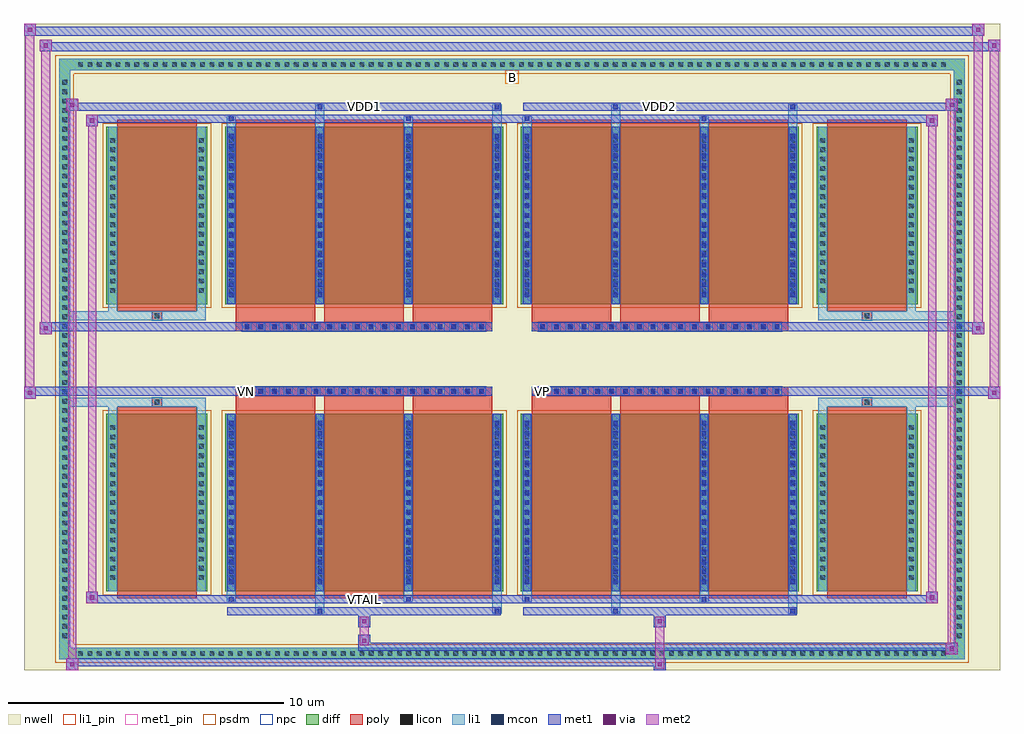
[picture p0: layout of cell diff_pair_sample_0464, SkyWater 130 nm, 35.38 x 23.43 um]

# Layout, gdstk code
import gdstk
lib = gdstk.Library(unit=1e-6, precision=5e-09)
def R(c, l, rs):  # rectangles x0, y0, x1, y1
    for r in rs: c.add(gdstk.rectangle(r[:2], r[2:], *l))
def A(c, l, x, y, w, h, nx, ny, dx, dy):  # array of equal rectangles
    R(c, l, [(x+i*dx, y+j*dy, x+i*dx+w, y+j*dy+h) for i in range(nx) for j in range(ny)])
def P(c, l, *ps):  # polygons
    for p in ps: c.add(gdstk.Polygon(p, *l))
nwell = (64, 20)
diff = (65, 20)
poly = (66, 20)
licon = (66, 44)
li1_pin = (67, 16)
li1 = (67, 20)
mcon = (67, 44)
met1_pin = (68, 16)
met1 = (68, 20)
via = (68, 44)
met2 = (69, 20)
psdm = (94, 20)
npc = (95, 20)

diff_pair_sample_0464 = lib.new_cell('diff_pair_sample_0464')
R(diff_pair_sample_0464, nwell, [(-17.69,-11.28,17.69,12.15), (-15.01,-9.47,-0.01,-0.805), (0.01,-9.47,15.01,-0.805), (-15.01,0.805,-0.01,9.47), (0.01,0.805,15.01,9.47)])
A(diff_pair_sample_0464, diff, -15.845, -10.88, 0.41, 0.41, 93, 2, 0.34, 21.35)
A(diff_pair_sample_0464, diff, -16.42, -10.235, 0.41, 0.41, 1, 60, 0, 0.34)
A(diff_pair_sample_0464, diff, 16.01, -10.235, 0.41, 0.41, 1, 60, 0, 0.34)
R(diff_pair_sample_0464, diff, [(-15.845,-10.88,15.845,-10.47), (-16.42,-10.235,-16.01,10.235), (16.01,-10.235,16.42,10.235), (-14.7,-8.425,-11.04,-1.985), (-10.4,-8.425,-0.32,-1.985), (0.32,-8.425,10.4,-1.985), (11.04,-8.425,14.7,-1.985), (-14.7,1.985,-11.04,8.425), (-10.4,1.985,-0.32,8.425), (0.32,1.985,10.4,8.425), (11.04,1.985,14.7,8.425), (-15.845,10.47,15.845,10.88)])
P(diff_pair_sample_0464, diff, [(16.42,10.88),(-16.42,10.88),(-16.42,-10.47),(-16.01,-10.47),(-16.01,10.47),(16.01,10.47),(16.01,-10.47),(-16.01,-10.47),(-16.42,-10.47),(-16.42,-10.88),(16.42,-10.88)])
A(diff_pair_sample_0464, poly, -10.01, -8.675, 2.88, 6.94, 3, 2, 3.21, 10.41)
A(diff_pair_sample_0464, poly, 0.71, -8.675, 2.88, 6.94, 3, 2, 3.21, 10.41)
A(diff_pair_sample_0464, poly, -10.01, -1.735, 2.88, 0.4, 3, 2, 3.21, 3.07)
A(diff_pair_sample_0464, poly, 0.71, -1.735, 2.88, 0.4, 3, 2, 3.21, 3.07)
A(diff_pair_sample_0464, poly, -9.775, -1.335, 0.33, 0.33, 18, 2, 0.5, 2.34)
A(diff_pair_sample_0464, poly, 0.945, -1.335, 0.33, 0.33, 18, 2, 0.5, 2.34)
R(diff_pair_sample_0464, poly, [(-14.31,-8.675,-11.43,-1.735), (11.43,-8.675,14.31,-1.735), (-13.035,-1.735,-12.705,-1.405), (-13.035,-1.735,-12.705,-1.405), (12.705,-1.735,13.035,-1.405), (12.705,-1.735,13.035,-1.405), (-10.01,-1.335,-0.71,-1.005), (0.71,-1.335,10.01,-1.005), (-10.01,1.005,-0.71,1.335), (0.71,1.005,10.01,1.335), (-13.035,1.405,-12.705,1.735), (-13.035,1.405,-12.705,1.735), (12.705,1.405,13.035,1.735), (12.705,1.405,13.035,1.735), (-14.31,1.735,-11.43,8.675), (11.43,1.735,14.31,8.675)])
A(diff_pair_sample_0464, licon, -15.725, -10.76, 0.17, 0.17, 93, 2, 0.34, 21.35)
A(diff_pair_sample_0464, licon, -16.3, -10.115, 0.17, 0.17, 1, 60, 0, 0.34)
A(diff_pair_sample_0464, licon, 16.13, -10.115, 0.17, 0.17, 1, 60, 0, 0.34)
A(diff_pair_sample_0464, licon, -14.56, -8.01, 0.17, 0.17, 1, 17, 0, 0.34)
A(diff_pair_sample_0464, licon, -11.35, -8.01, 0.17, 0.17, 1, 17, 0, 0.34)
A(diff_pair_sample_0464, licon, -10.26, -8.01, 0.17, 0.17, 4, 17, 3.21, 0.34)
A(diff_pair_sample_0464, licon, 0.46, -8.01, 0.17, 0.17, 4, 17, 3.21, 0.34)
A(diff_pair_sample_0464, licon, 11.18, -8.01, 0.17, 0.17, 1, 17, 0, 0.34)
A(diff_pair_sample_0464, licon, 14.39, -8.01, 0.17, 0.17, 1, 17, 0, 0.34)
A(diff_pair_sample_0464, licon, -9.695, -1.255, 0.17, 0.17, 18, 2, 0.5, 2.34)
A(diff_pair_sample_0464, licon, 1.025, -1.255, 0.17, 0.17, 18, 2, 0.5, 2.34)
A(diff_pair_sample_0464, licon, -14.56, 2.4, 0.17, 0.17, 1, 17, 0, 0.34)
A(diff_pair_sample_0464, licon, -11.35, 2.4, 0.17, 0.17, 1, 17, 0, 0.34)
A(diff_pair_sample_0464, licon, -10.26, 2.4, 0.17, 0.17, 4, 17, 3.21, 0.34)
A(diff_pair_sample_0464, licon, 0.46, 2.4, 0.17, 0.17, 4, 17, 3.21, 0.34)
A(diff_pair_sample_0464, licon, 11.18, 2.4, 0.17, 0.17, 1, 17, 0, 0.34)
A(diff_pair_sample_0464, licon, 14.39, 2.4, 0.17, 0.17, 1, 17, 0, 0.34)
R(diff_pair_sample_0464, licon, [(-12.955,-1.655,-12.785,-1.485), (12.785,-1.655,12.955,-1.485), (-12.955,1.485,-12.785,1.655), (12.785,1.485,12.955,1.655)])
R(diff_pair_sample_0464, li1_pin, [(-0.25,9.97,0.25,10.47)])
A(diff_pair_sample_0464, li1, -15.805, -10.84, 0.33, 0.33, 93, 2, 0.34, 21.35)
A(diff_pair_sample_0464, li1, -16.38, -10.195, 0.33, 0.33, 1, 60, 0, 0.34)
A(diff_pair_sample_0464, li1, 16.05, -10.195, 0.33, 0.33, 1, 60, 0, 0.34)
A(diff_pair_sample_0464, li1, -10.34, -8.425, 0.33, 6.44, 4, 2, 3.21, 10.41)
A(diff_pair_sample_0464, li1, 0.38, -8.425, 0.33, 6.44, 4, 2, 3.21, 10.41)
A(diff_pair_sample_0464, li1, -10.26, -8.17, 0.17, 0.17, 4, 17, 3.21, 0.36)
A(diff_pair_sample_0464, li1, -10.26, -8.17, 0.17, 5.93, 4, 2, 3.21, 10.41)
A(diff_pair_sample_0464, li1, 0.46, -8.17, 0.17, 0.17, 4, 17, 3.21, 0.36)
A(diff_pair_sample_0464, li1, 0.46, -8.17, 0.17, 5.93, 4, 2, 3.21, 10.41)
A(diff_pair_sample_0464, li1, -14.64, -8.09, 0.33, 0.33, 1, 17, 0, 0.34)
A(diff_pair_sample_0464, li1, -11.43, -8.09, 0.33, 0.33, 1, 17, 0, 0.34)
A(diff_pair_sample_0464, li1, -10.34, -8.09, 0.33, 0.33, 4, 17, 3.21, 0.34)
A(diff_pair_sample_0464, li1, 0.38, -8.09, 0.33, 0.33, 4, 17, 3.21, 0.34)
A(diff_pair_sample_0464, li1, 11.1, -8.09, 0.33, 0.33, 1, 17, 0, 0.34)
A(diff_pair_sample_0464, li1, 14.31, -8.09, 0.33, 0.33, 1, 17, 0, 0.34)
A(diff_pair_sample_0464, li1, -9.775, -1.335, 0.33, 0.33, 18, 2, 0.5, 2.34)
A(diff_pair_sample_0464, li1, 0.945, -1.335, 0.33, 0.33, 18, 2, 0.5, 2.34)
A(diff_pair_sample_0464, li1, -10.26, 2.24, 0.17, 0.17, 4, 17, 3.21, 0.36)
A(diff_pair_sample_0464, li1, 0.46, 2.24, 0.17, 0.17, 4, 17, 3.21, 0.36)
A(diff_pair_sample_0464, li1, -14.64, 2.32, 0.33, 0.33, 1, 17, 0, 0.34)
A(diff_pair_sample_0464, li1, -11.43, 2.32, 0.33, 0.33, 1, 17, 0, 0.34)
A(diff_pair_sample_0464, li1, -10.34, 2.32, 0.33, 0.33, 4, 17, 3.21, 0.34)
A(diff_pair_sample_0464, li1, 0.38, 2.32, 0.33, 0.33, 4, 17, 3.21, 0.34)
A(diff_pair_sample_0464, li1, 11.1, 2.32, 0.33, 0.33, 1, 17, 0, 0.34)
A(diff_pair_sample_0464, li1, 14.31, 2.32, 0.33, 0.33, 1, 17, 0, 0.34)
R(diff_pair_sample_0464, li1, [(-16.42,-10.88,-16.01,-10.47), (-16.42,-10.88,-16.01,-10.47), (-16.01,-10.88,16.01,-10.47), (16.01,-10.88,16.42,-10.47), (16.01,-10.88,16.42,-10.47), (-16.42,-10.47,-16.01,10.47), (16.01,-10.47,16.42,10.47), (-7.13,-9.23,-6.8,-8.425), (-7.05,-9.23,-6.88,-9.06), (-0.71,-9.23,-0.38,-8.425), (-0.63,-9.23,-0.46,-9.06), (3.59,-9.23,3.92,-8.425), (3.67,-9.23,3.84,-9.06), (10.01,-9.23,10.34,-8.425), (10.09,-9.23,10.26,-9.06), (-10.34,-8.8,-10.01,-8.425), (-10.26,-8.8,-10.09,-8.63), (-3.92,-8.8,-3.59,-8.425), (-3.84,-8.8,-3.67,-8.63), (0.38,-8.8,0.71,-8.425), (0.46,-8.8,0.63,-8.63), (6.8,-8.8,7.13,-8.425), (6.88,-8.8,7.05,-8.63), (-14.64,-8.425,-14.31,-1.985), (-11.43,-8.425,-11.1,-1.985), (11.1,-8.425,11.43,-1.985), (14.31,-8.425,14.64,-1.985), (-14.64,-1.985,-14.31,-1.405), (-11.43,-1.985,-11.1,-1.405), (11.1,-1.985,11.43,-1.405), (14.31,-1.985,14.64,-1.405), (-16.42,-1.735,-13.035,-1.405), (-14.64,-1.735,-13.035,-1.405), (-13.035,-1.735,-12.705,-1.405), (-12.705,-1.735,-11.1,-1.405), (11.1,-1.735,12.705,-1.405), (12.705,-1.735,13.035,-1.405), (12.705,-1.735,16.42,-1.405), (13.035,-1.735,14.64,-1.405), (-16.42,1.405,-13.035,1.735), (-14.64,1.405,-13.035,1.735), (-14.64,1.405,-14.31,1.985), (-13.035,1.405,-12.705,1.735), (-12.705,1.405,-11.1,1.735), (-11.43,1.405,-11.1,1.985), (11.1,1.405,12.705,1.735), (11.1,1.405,11.43,1.985), (12.705,1.405,13.035,1.735), (12.705,1.405,16.42,1.735), (13.035,1.405,14.64,1.735), (14.31,1.405,14.64,1.985), (-14.64,1.985,-14.31,8.425), (-11.43,1.985,-11.1,8.425), (11.1,1.985,11.43,8.425), (14.31,1.985,14.64,8.425), (-10.34,8.425,-10.01,8.8), (-7.13,8.425,-6.8,9.23), (-3.92,8.425,-3.59,8.8), (-0.71,8.425,-0.38,9.23), (0.38,8.425,0.71,8.8), (3.59,8.425,3.92,9.23), (6.8,8.425,7.13,8.8), (10.01,8.425,10.34,9.23), (-10.26,8.63,-10.09,8.8), (-3.84,8.63,-3.67,8.8), (0.46,8.63,0.63,8.8), (6.88,8.63,7.05,8.8), (-7.05,9.06,-6.88,9.23), (-0.63,9.06,-0.46,9.23), (3.67,9.06,3.84,9.23), (10.09,9.06,10.26,9.23), (-16.42,10.47,-16.01,10.88), (-16.42,10.47,-16.01,10.88), (-16.01,10.47,16.01,10.88), (16.01,10.47,16.42,10.88), (16.01,10.47,16.42,10.88)])
A(diff_pair_sample_0464, mcon, -10.26, -8.17, 0.17, 0.17, 4, 17, 3.21, 0.36)
A(diff_pair_sample_0464, mcon, 0.46, -8.17, 0.17, 0.17, 4, 17, 3.21, 0.36)
A(diff_pair_sample_0464, mcon, -9.695, -1.255, 0.17, 0.17, 18, 2, 0.5, 2.34)
A(diff_pair_sample_0464, mcon, 1.025, -1.255, 0.17, 0.17, 18, 2, 0.5, 2.34)
A(diff_pair_sample_0464, mcon, -10.26, 2.24, 0.17, 0.17, 4, 17, 3.21, 0.36)
A(diff_pair_sample_0464, mcon, 0.46, 2.24, 0.17, 0.17, 4, 17, 3.21, 0.36)
R(diff_pair_sample_0464, mcon, [(-7.05,-9.23,-6.88,-9.06), (-0.63,-9.23,-0.46,-9.06), (3.67,-9.23,3.84,-9.06), (10.09,-9.23,10.26,-9.06), (-10.26,-8.8,-10.09,-8.63), (-3.84,-8.8,-3.67,-8.63), (0.46,-8.8,0.63,-8.63), (6.88,-8.8,7.05,-8.63), (-10.26,8.63,-10.09,8.8), (-3.84,8.63,-3.67,8.8), (0.46,8.63,0.63,8.8), (6.88,8.63,7.05,8.8), (-7.05,9.06,-6.88,9.23), (-0.63,9.06,-0.46,9.23), (3.67,9.06,3.84,9.23), (10.09,9.06,10.26,9.23)])
R(diff_pair_sample_0464, met1_pin, [(-5.495,-8.84,-5.225,-8.57), (-9.745,-1.295,-9.475,-1.025), (0.975,-1.295,1.245,-1.025), (-5.495,9.02,-5.225,9.29), (5.225,9.02,5.495,9.29)])
A(diff_pair_sample_0464, met1, -10.32, -8.425, 0.29, 6.44, 4, 2, 3.21, 10.41)
A(diff_pair_sample_0464, met1, 0.4, -8.425, 0.29, 6.44, 4, 2, 3.21, 10.41)
A(diff_pair_sample_0464, met1, -10.32, -8.23, 0.29, 0.29, 4, 17, 3.21, 0.36)
A(diff_pair_sample_0464, met1, 0.4, -8.23, 0.29, 0.29, 4, 17, 3.21, 0.36)
A(diff_pair_sample_0464, met1, -9.755, -1.315, 0.29, 0.29, 18, 2, 0.5, 2.34)
A(diff_pair_sample_0464, met1, 0.965, -1.315, 0.29, 0.29, 18, 2, 0.5, 2.34)
A(diff_pair_sample_0464, met1, -10.32, 2.18, 0.29, 0.29, 4, 17, 3.21, 0.36)
A(diff_pair_sample_0464, met1, 0.4, 2.18, 0.29, 0.29, 4, 17, 3.21, 0.36)
R(diff_pair_sample_0464, met1, [(-16.15,-11.28,-15.72,-10.85), (5.145,-11.28,5.575,-10.85), (-16.15,-11.14,5.575,-10.85), (15.72,-10.71,16.15,-10.28), (-5.575,-10.57,16.15,-10.28), (-5.575,-10.43,-5.145,-10), (-5.575,-9.72,-5.145,-9.29), (5.145,-9.72,5.575,-9.29), (-10.32,-9.29,-0.4,-9), (-7.11,-9.29,-6.82,-9), (-0.69,-9.29,-0.4,-9), (0.4,-9.29,10.32,-9), (3.61,-9.29,3.9,-9), (10.03,-9.29,10.32,-9), (-15.44,-8.86,-15.01,-8.43), (-15.44,-8.86,-10.32,-8.57), (-10.32,-8.86,-10.03,-8.57), (-10.32,-8.86,-0.4,-8.57), (-3.9,-8.86,-3.61,-8.57), (-0.4,-8.86,0.4,-8.57), (0.4,-8.86,0.69,-8.57), (0.4,-8.86,10.32,-8.57), (6.82,-8.86,7.11,-8.57), (10.32,-8.86,15.44,-8.57), (15.01,-8.86,15.44,-8.43), (-17.69,-1.435,-17.26,-1.005), (17.26,-1.435,17.69,-1.005), (-17.69,-1.335,-0.71,-1.005), (-10.01,-1.335,-0.71,-1.005), (0.71,-1.335,10.01,-1.005), (0.71,-1.335,17.69,-1.005), (-17.12,0.905,-16.69,1.335), (16.69,0.905,17.12,1.335), (-17.12,1.005,-10.01,1.335), (-10.01,1.005,-0.71,1.335), (0.71,1.005,10.01,1.335), (10.01,1.005,17.12,1.335), (-15.44,8.43,-15.01,8.86), (15.01,8.43,15.44,8.86), (-15.44,8.57,-10.32,8.86), (-10.32,8.57,-10.03,8.86), (-10.32,8.57,-0.4,8.86), (-3.9,8.57,-3.61,8.86), (-0.4,8.57,0.4,8.86), (0.4,8.57,0.69,8.86), (0.4,8.57,10.32,8.86), (6.82,8.57,7.11,8.86), (10.32,8.57,15.44,8.86), (-16.15,9,-15.72,9.43), (-16.15,9,-10.32,9.29), (-10.32,9,-0.4,9.29), (-7.11,9,-6.82,9.29), (-0.69,9,-0.4,9.29), (0.4,9,10.32,9.29), (3.61,9,3.9,9.29), (10.03,9,10.32,9.29), (10.32,9,16.15,9.29), (15.72,9,16.15,9.43), (-17.12,11.15,-16.69,11.58), (-17.12,11.15,-15.01,11.48), (-15.01,11.15,15.01,11.48), (15.01,11.15,17.69,11.48), (17.26,11.15,17.69,11.58), (-17.69,11.72,-17.26,12.15), (-17.69,11.72,-15.01,12.05), (-15.01,11.72,15.01,12.05), (15.01,11.72,17.12,12.05), (16.69,11.72,17.12,12.15)])
R(diff_pair_sample_0464, via, [(-16.01,-11.14,-15.86,-10.99), (5.285,-11.14,5.435,-10.99), (15.86,-10.57,16.01,-10.42), (-5.435,-10.29,-5.285,-10.14), (-5.435,-9.58,-5.285,-9.43), (5.285,-9.58,5.435,-9.43), (-15.3,-8.72,-15.15,-8.57), (15.15,-8.72,15.3,-8.57), (-17.55,-1.295,-17.4,-1.145), (17.4,-1.295,17.55,-1.145), (-16.98,1.045,-16.83,1.195), (16.83,1.045,16.98,1.195), (-15.3,8.57,-15.15,8.72), (15.15,8.57,15.3,8.72), (-16.01,9.14,-15.86,9.29), (15.86,9.14,16.01,9.29), (-16.98,11.29,-16.83,11.44), (17.4,11.29,17.55,11.44), (-17.55,11.86,-17.4,12.01), (16.83,11.86,16.98,12.01)])
R(diff_pair_sample_0464, met2, [(-16.15,-11.28,-15.72,-10.85), (-16.08,-11.28,-15.79,9.43), (-15.79,-11.28,-15.72,-10.85), (-16.1,-11.23,-15.77,-10.9), (5.195,-11.23,5.525,-10.9), (5.195,-10.9,5.525,-9.67), (15.72,-10.71,16.15,-10.28), (15.79,-10.71,16.08,9.43), (16.08,-10.71,16.15,-10.28), (15.77,-10.66,16.1,-10.33), (-5.525,-10.38,-5.195,-10.05), (-5.525,-10.05,-5.195,-9.67), (-5.525,-9.67,-5.195,-9.34), (5.195,-9.67,5.525,-9.34), (-15.44,-8.86,-15.01,-8.43), (-15.37,-8.86,-15.08,8.86), (-15.08,-8.86,-15.01,-8.43), (15.01,-8.86,15.44,-8.43), (15.08,-8.86,15.37,8.86), (15.37,-8.86,15.44,-8.43), (-15.39,-8.81,-15.06,-8.48), (15.06,-8.81,15.39,-8.48), (-17.69,-1.435,-17.26,-1.005), (-17.64,-1.435,-17.31,12.15), (-17.31,-1.435,-17.26,-1.005), (17.26,-1.435,17.69,-1.005), (17.31,-1.435,17.64,11.58), (17.64,-1.435,17.69,-1.005), (-17.64,-1.385,-17.31,-1.055), (17.31,-1.385,17.64,-1.055), (-17.12,0.905,-16.69,1.335), (-17.07,0.905,-16.74,11.58), (-16.74,0.905,-16.69,1.335), (16.69,0.905,17.12,1.335), (16.74,0.905,17.07,12.15), (17.07,0.905,17.12,1.335), (-17.07,0.955,-16.74,1.285), (16.74,0.955,17.07,1.285), (-15.44,8.43,-15.01,8.86), (-15.08,8.43,-15.01,8.86), (15.01,8.43,15.44,8.86), (15.37,8.43,15.44,8.86), (-15.39,8.48,-15.06,8.81), (15.06,8.48,15.39,8.81), (-16.15,9,-15.72,9.43), (-15.79,9,-15.72,9.43), (15.72,9,16.15,9.43), (16.08,9,16.15,9.43), (-16.1,9.05,-15.77,9.38), (15.77,9.05,16.1,9.38), (-17.12,11.15,-16.69,11.58), (-16.74,11.15,-16.69,11.58), (17.26,11.15,17.69,11.58), (17.64,11.15,17.69,11.58), (-17.07,11.2,-16.74,11.53), (17.31,11.2,17.64,11.53), (-17.69,11.72,-17.26,12.15), (-17.31,11.72,-17.26,12.15), (16.69,11.72,17.12,12.15), (17.07,11.72,17.12,12.15), (-17.64,11.77,-17.31,12.1), (16.74,11.77,17.07,12.1)])
R(diff_pair_sample_0464, psdm, [(-14.83,-8.555,-10.91,-1.855), (-10.53,-8.555,-0.19,-1.855), (0.19,-8.555,10.53,-1.855), (10.91,-8.555,14.83,-1.855), (-14.83,1.855,-10.91,8.555), (-10.53,1.855,-0.19,8.555), (0.19,1.855,10.53,8.555), (10.91,1.855,14.83,8.555)])
P(diff_pair_sample_0464, psdm, [(16.55,11.01),(-16.55,11.01),(-16.55,-10.34),(-15.88,-10.34),(-15.88,10.34),(15.88,10.34),(15.88,-10.34),(-15.88,-10.34),(-16.55,-10.34),(-16.55,-11.01),(16.55,-11.01)])
A(diff_pair_sample_0464, npc, -9.795, -1.355, 0.37, 0.37, 18, 2, 0.5, 2.34)
A(diff_pair_sample_0464, npc, 0.925, -1.355, 0.37, 0.37, 18, 2, 0.5, 2.34)
R(diff_pair_sample_0464, npc, [(-13.055,-1.755,-12.685,-1.385), (12.685,-1.755,13.055,-1.385), (-9.795,-1.355,-8.925,-0.985), (-9.795,-1.355,-8.925,-0.985), (-9.295,-1.355,-8.425,-0.985), (-9.295,-1.355,-8.425,-0.985), (-8.795,-1.355,-7.925,-0.985), (-8.795,-1.355,-7.925,-0.985), (-8.295,-1.355,-7.425,-0.985), (-8.295,-1.355,-7.425,-0.985), (-7.795,-1.355,-6.925,-0.985), (-7.795,-1.355,-6.925,-0.985), (-7.295,-1.355,-6.425,-0.985), (-7.295,-1.355,-6.425,-0.985), (-6.795,-1.355,-5.925,-0.985), (-6.795,-1.355,-5.925,-0.985), (-6.295,-1.355,-5.425,-0.985), (-6.295,-1.355,-5.425,-0.985), (-5.795,-1.355,-4.925,-0.985), (-5.795,-1.355,-4.925,-0.985), (-5.295,-1.355,-4.425,-0.985), (-5.295,-1.355,-4.425,-0.985), (-4.795,-1.355,-3.925,-0.985), (-4.795,-1.355,-3.925,-0.985), (-4.295,-1.355,-3.425,-0.985), (-4.295,-1.355,-3.425,-0.985), (-3.795,-1.355,-2.925,-0.985), (-3.795,-1.355,-2.925,-0.985), (-3.295,-1.355,-2.425,-0.985), (-3.295,-1.355,-2.425,-0.985), (-2.795,-1.355,-1.925,-0.985), (-2.795,-1.355,-1.925,-0.985), (-2.295,-1.355,-1.425,-0.985), (-2.295,-1.355,-1.425,-0.985), (-1.795,-1.355,-0.925,-0.985), (-1.795,-1.355,-0.925,-0.985), (0.925,-1.355,1.795,-0.985), (0.925,-1.355,1.795,-0.985), (1.425,-1.355,2.295,-0.985), (1.425,-1.355,2.295,-0.985), (1.925,-1.355,2.795,-0.985), (1.925,-1.355,2.795,-0.985), (2.425,-1.355,3.295,-0.985), (2.425,-1.355,3.295,-0.985), (2.925,-1.355,3.795,-0.985), (2.925,-1.355,3.795,-0.985), (3.425,-1.355,4.295,-0.985), (3.425,-1.355,4.295,-0.985), (3.925,-1.355,4.795,-0.985), (3.925,-1.355,4.795,-0.985), (4.425,-1.355,5.295,-0.985), (4.425,-1.355,5.295,-0.985), (4.925,-1.355,5.795,-0.985), (4.925,-1.355,5.795,-0.985), (5.425,-1.355,6.295,-0.985), (5.425,-1.355,6.295,-0.985), (5.925,-1.355,6.795,-0.985), (5.925,-1.355,6.795,-0.985), (6.425,-1.355,7.295,-0.985), (6.425,-1.355,7.295,-0.985), (6.925,-1.355,7.795,-0.985), (6.925,-1.355,7.795,-0.985), (7.425,-1.355,8.295,-0.985), (7.425,-1.355,8.295,-0.985), (7.925,-1.355,8.795,-0.985), (7.925,-1.355,8.795,-0.985), (8.425,-1.355,9.295,-0.985), (8.425,-1.355,9.295,-0.985), (8.925,-1.355,9.795,-0.985), (8.925,-1.355,9.795,-0.985), (-9.795,0.985,-8.925,1.355), (-9.795,0.985,-8.925,1.355), (-9.295,0.985,-8.425,1.355), (-9.295,0.985,-8.425,1.355), (-8.795,0.985,-7.925,1.355), (-8.795,0.985,-7.925,1.355), (-8.295,0.985,-7.425,1.355), (-8.295,0.985,-7.425,1.355), (-7.795,0.985,-6.925,1.355), (-7.795,0.985,-6.925,1.355), (-7.295,0.985,-6.425,1.355), (-7.295,0.985,-6.425,1.355), (-6.795,0.985,-5.925,1.355), (-6.795,0.985,-5.925,1.355), (-6.295,0.985,-5.425,1.355), (-6.295,0.985,-5.425,1.355), (-5.795,0.985,-4.925,1.355), (-5.795,0.985,-4.925,1.355), (-5.295,0.985,-4.425,1.355), (-5.295,0.985,-4.425,1.355), (-4.795,0.985,-3.925,1.355), (-4.795,0.985,-3.925,1.355), (-4.295,0.985,-3.425,1.355), (-4.295,0.985,-3.425,1.355), (-3.795,0.985,-2.925,1.355), (-3.795,0.985,-2.925,1.355), (-3.295,0.985,-2.425,1.355), (-3.295,0.985,-2.425,1.355), (-2.795,0.985,-1.925,1.355), (-2.795,0.985,-1.925,1.355), (-2.295,0.985,-1.425,1.355), (-2.295,0.985,-1.425,1.355), (-1.795,0.985,-0.925,1.355), (-1.795,0.985,-0.925,1.355), (0.925,0.985,1.795,1.355), (0.925,0.985,1.795,1.355), (1.425,0.985,2.295,1.355), (1.425,0.985,2.295,1.355), (1.925,0.985,2.795,1.355), (1.925,0.985,2.795,1.355), (2.425,0.985,3.295,1.355), (2.425,0.985,3.295,1.355), (2.925,0.985,3.795,1.355), (2.925,0.985,3.795,1.355), (3.425,0.985,4.295,1.355), (3.425,0.985,4.295,1.355), (3.925,0.985,4.795,1.355), (3.925,0.985,4.795,1.355), (4.425,0.985,5.295,1.355), (4.425,0.985,5.295,1.355), (4.925,0.985,5.795,1.355), (4.925,0.985,5.795,1.355), (5.425,0.985,6.295,1.355), (5.425,0.985,6.295,1.355), (5.925,0.985,6.795,1.355), (5.925,0.985,6.795,1.355), (6.425,0.985,7.295,1.355), (6.425,0.985,7.295,1.355), (6.925,0.985,7.795,1.355), (6.925,0.985,7.795,1.355), (7.425,0.985,8.295,1.355), (7.425,0.985,8.295,1.355), (7.925,0.985,8.795,1.355), (7.925,0.985,8.795,1.355), (8.425,0.985,9.295,1.355), (8.425,0.985,9.295,1.355), (8.925,0.985,9.795,1.355), (8.925,0.985,9.795,1.355), (-13.055,1.385,-12.685,1.755), (12.685,1.385,13.055,1.755)])
diff_pair_sample_0464.add(gdstk.Label('VTAIL', (-5.36,-8.705), layer=68, texttype=5))
diff_pair_sample_0464.add(gdstk.Label('VN', (-9.61,-1.16), layer=68, texttype=5))
diff_pair_sample_0464.add(gdstk.Label('VP', (1.11,-1.16), layer=68, texttype=5))
diff_pair_sample_0464.add(gdstk.Label('B', (0,10.22), layer=67, texttype=5))
diff_pair_sample_0464.add(gdstk.Label('VDD2', (5.36,9.155), layer=68, texttype=5))
diff_pair_sample_0464.add(gdstk.Label('VDD1', (-5.36,9.155), layer=68, texttype=5))

lib.write_gds('diff_pair_sample_0464.gds')
